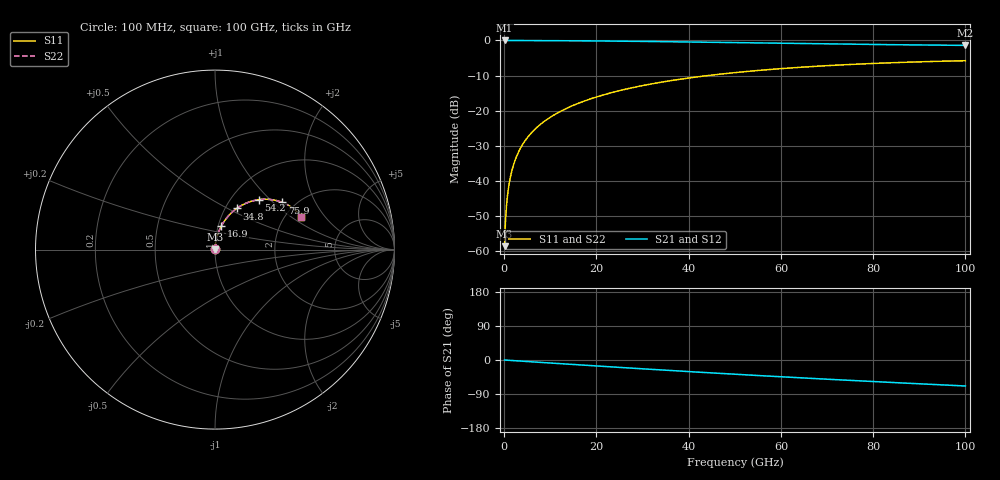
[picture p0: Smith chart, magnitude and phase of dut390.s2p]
! Touchstone file exported from HFSS 2026.1.0
!  File:  C:/ffzhzh/LocalFiles/Ansys_Project_Files/temp_train_RDL_390_1783503881_41296.aedt
!  Generated:  05:45:53 PM Jul  8, 2026
!  Design:  RDL
!  Project:  temp_train_RDL_390_1783503881_41296
! Variables:
!  h_bsmrdl = 2um
!  h_ox = 20um
!  h_rdl = 5um
!  h_sub = 80um
!  h_tmrdl = 4.16um
!  h_tsv = 80um
!  h_via = 3um
!  l_bsmrdl = 300um
!  l_sub = 585.32um
!  l_tmrdl = 185.32um
!  m_sub = 200um
!  pitch = 58.6um
!  r_tsv = 6um
!  s_tmrdl = 10um
!  w_bsmrdl = 18um
!  w_sub = 500um
!  w_tmrdl = 28.24um
!  x_tsv_center1 = 199.44um
!  x_tsv_center2 = 517.44um
!  x_tsv_center3 = 731um
!  x_tsv_center4 = 1049um
!  x_tsv_center5 = 1262.56um
!  x_tsv_center6 = 1580.56um
# GHz S MA R 50.000000
! Terminal data exported
! Port[1] = TM_RDL1_1_T1
! Port[2] = TM_RDL1_1_T2
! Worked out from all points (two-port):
!   1000 points, 100 MHz to 100 GHz, reference 50 ohm
!   highest |S21| = -0.01 dB at 100 MHz (marker M1); lowest = -1.4 dB at 100 GHz (marker M2)
!   |S21| within 3 dB of the highest: start of sweep to end of sweep
!   lowest |S11| = -58.5 dB at 100 MHz (marker M3), VSWR 1.00, Z = 50.1 + j0.091 ohm
!   |S11| at or under -10 dB: start of sweep to 44.09 GHz
!   |S22| runs from -58.5 to -5.8 dB; largest |S21 - S12| = 3.7e-15
!   S11 on the Smith chart (normalised r, x): 100 MHz: 1.00, +0.00; 16.9 GHz: 1.03, +0.27; 34.8 GHz: 1.13, +0.56; 54.2 GHz: 1.33, +0.86; 75.9 GHz: 1.72, +1.14; 100 GHz: 2.42, +1.21
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0.1  0.001189 49.8  0.9992 -0.1  0.9992 -0.1  0.001189 49.8
! Gamma 0 0 0 0
! Port Impedance 50 0 50 0
0.4  0.003561 75.0  0.9991 -0.3  0.9991 -0.3  0.003561 75.0
0.8  0.006818 81.2  0.999 -0.7  0.999 -0.7  0.006818 81.2
1.1  0.009289 82.9  0.999 -0.9  0.999 -0.9  0.009289 82.9
1.4  0.01177 83.8  0.9989 -1.1  0.9989 -1.1  0.01177 83.8
1.9  0.0159 84.4  0.9988 -1.5  0.9988 -1.5  0.0159 84.4
2.4  0.02003 84.6  0.9986 -1.9  0.9986 -1.9  0.02003 84.6
3.9  0.0323 84.2  0.998 -3.1  0.998 -3.1  0.0323 84.2
6  0.04923 82.9  0.9968 -4.8  0.9968 -4.8  0.04923 82.9
8.8  0.07144 81.0  0.9949 -7.0  0.9949 -7.0  0.07144 81.0
12.4  0.09952 78.4  0.992 -9.8  0.992 -9.8  0.09952 78.4
16.8  0.1331 75.2  0.9875 -13.3  0.9875 -13.3  0.1331 75.2
16.9  0.1339 75.1  0.9874 -13.3  0.9874 -13.3  0.1339 75.1
24.3  0.1883 69.7  0.9779 -19.0  0.9779 -19.0  0.1883 69.7
33.4  0.2506 63.1  0.9632 -25.8  0.9632 -25.8  0.2506 63.1
34.8  0.2597 62.1  0.9608 -26.8  0.9608 -26.8  0.2597 62.1
50.1  0.3492 51.5  0.9315 -37.6  0.9315 -37.6  0.3493 51.5
54.2  0.3701 48.8  0.9233 -40.4  0.9233 -40.4  0.3701 48.7
66.7  0.4253 40.7  0.8991 -48.6  0.8991 -48.6  0.4253 40.6
75.9  0.4582 35.0  0.8828 -54.3  0.8828 -54.3  0.4582 34.9
83.4  0.4802 30.5  0.871 -58.9  0.871 -58.9  0.4802 30.4
100  0.5149 20.9  0.8507 -68.6  0.8507 -68.6  0.5149 20.8
